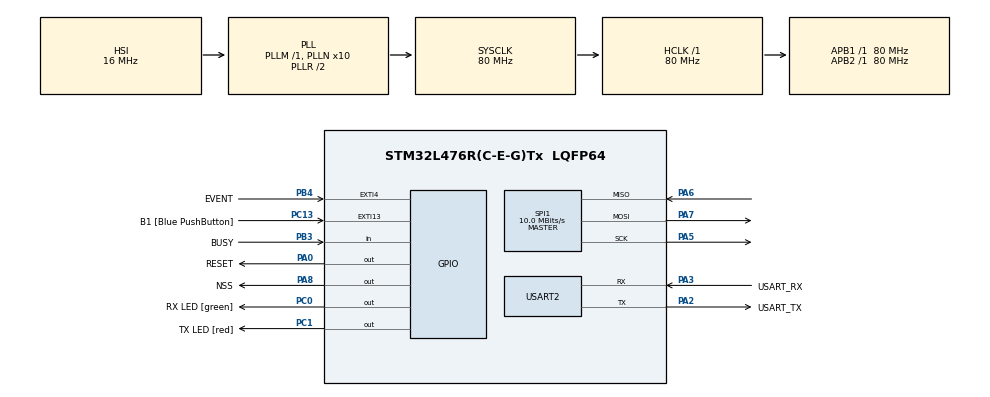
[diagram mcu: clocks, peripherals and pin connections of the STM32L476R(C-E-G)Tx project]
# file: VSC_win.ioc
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Mcu.Family=STM32L4
Mcu.Name=STM32L476R(C-E-G)Tx
Mcu.Package=LQFP64
NVIC.PriorityGroup=NVIC_PRIORITYGROUP_4
PA0.GPIO_Label=RESET
PA0.Signal=GPIO_Output
PA13\ (JTMS-SWDIO).GPIO_Label=TMS
PA13\ (JTMS-SWDIO).Mode=Serial_Wire
PA13\ (JTMS-SWDIO).Signal=SYS_JTMS-SWDIO
PA14\ (JTCK-SWCLK).GPIO_Label=TCK
PA14\ (JTCK-SWCLK).Mode=Serial_Wire
PA14\ (JTCK-SWCLK).Signal=SYS_JTCK-SWCLK
PA2.GPIO_Label=USART_TX
PA2.GPIO_Mode=GPIO_MODE_AF_PP
PA2.GPIO_PuPd=GPIO_NOPULL
PA2.GPIO_Speed=GPIO_SPEED_FREQ_VERY_HIGH
PA2.Mode=Asynchronous
PA2.Signal=USART2_TX
PA3.GPIO_Label=USART_RX
PA3.GPIO_Mode=GPIO_MODE_AF_PP
PA3.GPIO_PuPd=GPIO_NOPULL
PA3.GPIO_Speed=GPIO_SPEED_FREQ_VERY_HIGH
PA3.Mode=Asynchronous
PA3.Signal=USART2_RX
PA5.Mode=Full_Duplex_Master
PA5.Signal=SPI1_SCK
PA6.Mode=Full_Duplex_Master
PA6.Signal=SPI1_MISO
PA7.Mode=Full_Duplex_Master
PA7.Signal=SPI1_MOSI
PA8.GPIO_Label=NSS
PA8.Signal=GPIO_Output
PB3\ (JTDO-TRACESWO).GPIO_Label=BUSY
PB3\ (JTDO-TRACESWO).Signal=GPIO_Input
PB4\ (NJTRST).GPIO_Label=EVENT
PB4\ (NJTRST).Signal=GPXTI4
PC0.GPIO_Label=RX LED [green]
PC0.Signal=GPIO_Output
PC1.GPIO_Label=TX LED [red]
PC1.Signal=GPIO_Output
PC13.GPIO_Label=B1 [Blue PushButton]
PC13.GPIO_ModeDefaultEXTI=GPIO_MODE_IT_FALLING
PC13.GPIO_PuPd=GPIO_NOPULL
PC13.Signal=GPXTI13
PC14-OSC32_IN\ (PC14).Mode=LSE-External-Oscillator
PC14-OSC32_IN\ (PC14).Signal=RCC_OSC32_IN
PC15-OSC32_OUT\ (PC15).Mode=LSE-External-Oscillator
PC15-OSC32_OUT\ (PC15).Signal=RCC_OSC32_OUT
PH0-OSC_IN\ (PH0).Signal=RCC_OSC_IN
PH1-OSC_OUT\ (PH1).Signal=RCC_OSC_OUT
ProjectManager.HeapSize=0x200
ProjectManager.StackSize=0x400
ProjectManager.TargetToolchain=Makefile
RCC.ADCFreq_Value=64000000
RCC.AHBFreq_Value=80000000
RCC.APB1Freq_Value=80000000
RCC.APB1TimFreq_Value=80000000
RCC.APB2Freq_Value=80000000
RCC.APB2TimFreq_Value=80000000
RCC.CortexFreq_Value=80000000
RCC.HCLKFreq_Value=80000000
RCC.HSE_VALUE=8000000
RCC.HSI_VALUE=16000000
RCC.MSI_VALUE=4000000
RCC.PLLN=10
RCC.PLLSourceVirtual=RCC_PLLSOURCE_HSI
RCC.PREFETCH_ENABLE=1
RCC.SYSCLKFreq_VALUE=80000000
RCC.SYSCLKSource=RCC_SYSCLKSOURCE_PLLCLK
RCC.USBFreq_Value=64000000
RCC.VCOOutputFreq_Value=160000000
SPI1.BaudRatePrescaler=SPI_BAUDRATEPRESCALER_8
SPI1.CalculateBaudRate=10.0 MBits/s
SPI1.DataSize=SPI_DATASIZE_8BIT
SPI1.Direction=SPI_DIRECTION_2LINES
SPI1.Mode=SPI_MODE_MASTER
SPI1.VirtualType=VM_MASTER
USART2.VirtualMode-Asynchronous=VM_ASYNC
VP_RTC_VS_RTC_Activate.Mode=RTC_Enabled
VP_RTC_VS_RTC_Calendar.Mode=RTC_Calendar
board=NUCLEO-L476RG

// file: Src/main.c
/* USER CODE BEGIN Header */
/**
  ******************************************************************************
  * @file           : main.c
  * @brief          : Main program body
  ******************************************************************************
  * @attention
  *
  * Copyright (c) 2024 STMicroelectronics.
  * All rights reserved.
  *
  * This software is licensed under terms that can be found in the LICENSE file
  * in the root directory of this software component.
  * If no LICENSE file comes with this software, it is provided AS-IS.
  *
  ******************************************************************************
  */
/* USER CODE END Header */
#include "main.h"

/* USER CODE BEGIN Includes */

#include "spi.h"

#include "rtc.h"

#include <stdlib.h>  // used for malloc function
#include <string.h>  // used for strlen function
#include <stdarg.h> // used for va_list, va_start, va_end functions
#include <stdio.h>  // used for vsprintf function

/* USER CODE END Includes */

RTC_HandleTypeDef hrtc;

SPI_HandleTypeDef hspi1;

UART_HandleTypeDef huart2;

void SystemClock_Config(void);
static void MX_GPIO_Init(void);
static void MX_USART2_UART_Init(void);
static void MX_RTC_Init(void);
static void MX_SPI1_Init(void);
/* USER CODE BEGIN PFP */

/*!
 * @brief Get LR1110 version
 *
 * @param [in] context Radio abstraction
 */
static void getLR1110_Bootloader_Version();

/*!
 * @brief Get LR1110 temperature
 *
 * @param [in] context Radio abstraction
 */
static void getLR1110_Temperature( const void* context);

/*!
 * @brief Get LR1110 GNSS version
 *
 * @param [in] context Radio abstraction
 */
static void getLR1110_GNSS_Version( const void* context);

/*!
 * @brief Get LR1110 Wi-Fi version
 *
 * @param [in] context Radio abstraction
 */
static void getLR1110_WiFi_Version( const void* context);

/*!
 * @brief Get LR1110 Chip EUI
 *
 * @param [in] context Radio abstraction
 */
static void getLR1110_Chip_EUI( const void* context);

/*!
 * @brief Reset LR1110
 */
static void resetLR1110();

/*!
 * @brief Setup TCXO
 *
 * @param [in] context Radio abstraction
 */
static void setupTCXO( const void* context );

/*!
 * @brief Turn on LED
 *
 * @param [in] LED_GPIO_Port
 * @param [in] LED_Pin
 */
void turnOnLED(GPIO_TypeDef* LED_GPIO_Port, uint16_t LED_Pin);

/*!
 * @brief Turn off LED
 *
 * @param [in] LED_GPIO_Port
 * @param [in] LED_Pin
 */
void turnOffLED(GPIO_TypeDef* LED_GPIO_Port, uint16_t LED_Pin);

/*!
 * @brief Toggle LED
 *
 * @param [in] LED_GPIO_Port
 * @param [in] LED_Pin
 */
void toggleLED(GPIO_TypeDef* LED_GPIO_Port, uint16_t LED_Pin);

/*!
 * @brief Blink LED
 *
 * @param [in] LED_GPIO_Port
 * @param [in] LED_Pin
 * @param [in] period
 * @param [in] count
 * @param [in] start
 */
void blinkLED(GPIO_TypeDef* LED_GPIO_Port, uint16_t LED_Pin, uint32_t period, uint8_t count, bool start);

/* USER CODE END PFP */

int main(void)
{

  /* MCU Configuration--------------------------------------------------------*/

  /* Reset of all peripherals, Initializes the Flash interface and the Systick. */
  HAL_Init();

  /* USER CODE BEGIN Init */

  int a = 0;

  void* lr1110_context = (void*) malloc(sizeof(radio_t));
  ((radio_t*)lr1110_context)->spi             = SPI1;
  ((radio_t*)lr1110_context)->nss.port        = GPIOA;
  ((radio_t*)lr1110_context)->nss.pin         = NSS_Pin;
  ((radio_t*)lr1110_context)->reset.port      = GPIOA;
  ((radio_t*)lr1110_context)->reset.pin       = RESET_Pin;
  // ((radio_t*)lr1110_context)->event.irq1.port = GPIOB;
  // ((radio_t*)lr1110_context)->event.irq1.pin = EVENT_Pin;
  //((radio_t*)lr1110_context)->event.pin       = EVENT_Pin;
  //((radio_t*)lr1110_context)->event.callback  = radio_event_callback;
  ((radio_t*)lr1110_context)->event.context   = ( ( radio_t* ) lr1110_context );
  ((radio_t*)lr1110_context)->busy.port       = GPIOB;
  ((radio_t*)lr1110_context)->busy.pin        = BUSY_Pin;

  /* USER CODE END Init */

  /* Configure the system clock */
  SystemClock_Config();

  /* Initialize all configured peripherals */
  MX_GPIO_Init();
  MX_USART2_UART_Init();
  MX_RTC_Init();
  MX_SPI1_Init();
  /* USER CODE BEGIN 2 */

  HAL_DBG_TRACE_MSG("-----------------------------\r\n\r\n");
  resetLR1110();

  blinkLED(GPIOC, RX_LED_Pin|TX_LED_Pin, 100, 5, true);

  setupTCXO(lr1110_context);

  getLR1110_Bootloader_Version(lr1110_context);   // First call to this function is always returning 0.0 no matter if calling for bootloader og wifi version
  getLR1110_Bootloader_Version(lr1110_context);
  getLR1110_WiFi_Version(lr1110_context);
  getLR1110_Chip_EUI(lr1110_context);

  /* USER CODE END 2 */

  /* Infinite loop */
  /* USER CODE BEGIN WHILE */
  while (1) {

    //turnOnLED(GPIOC, RX_LED_Pin);
    //turnOffLED(GPIOC, RX_LED_Pin);
    //toggleLED(GPIOC, RX_LED_Pin|TX_LED_Pin);

    HAL_DBG_TRACE_PRINTF("2a = %d\r\n", a++);

    getLR1110_Temperature(lr1110_context);

    /* USER CODE END WHILE */

    /* USER CODE BEGIN 3 */
    HAL_Delay(1000);
  }
  /* USER CODE END 3 */
}

void SystemClock_Config(void)
{
  RCC_OscInitTypeDef RCC_OscInitStruct = {0};
  RCC_ClkInitTypeDef RCC_ClkInitStruct = {0};

  /** Configure the main internal regulator output voltage
  */
  if (HAL_PWREx_ControlVoltageScaling(PWR_REGULATOR_VOLTAGE_SCALE1) != HAL_OK)
  {
    Error_Handler();
  }

  /** Initializes the RCC Oscillators according to the specified parameters
  * in the RCC_OscInitTypeDef structure.
  */
  RCC_OscInitStruct.OscillatorType = RCC_OSCILLATORTYPE_HSI|RCC_OSCILLATORTYPE_LSI;
  RCC_OscInitStruct.HSIState = RCC_HSI_ON;
  RCC_OscInitStruct.HSICalibrationValue = RCC_HSICALIBRATION_DEFAULT;
  RCC_OscInitStruct.LSIState = RCC_LSI_ON;
  RCC_OscInitStruct.PLL.PLLState = RCC_PLL_ON;
  RCC_OscInitStruct.PLL.PLLSource = RCC_PLLSOURCE_HSI;
  RCC_OscInitStruct.PLL.PLLM = 1;
  RCC_OscInitStruct.PLL.PLLN = 10;
  RCC_OscInitStruct.PLL.PLLP = RCC_PLLP_DIV7;
  RCC_OscInitStruct.PLL.PLLQ = RCC_PLLQ_DIV2;
  RCC_OscInitStruct.PLL.PLLR = RCC_PLLR_DIV2;
  if (HAL_RCC_OscConfig(&RCC_OscInitStruct) != HAL_OK)
  {
    Error_Handler();
  }

  /** Initializes the CPU, AHB and APB buses clocks
  */
  RCC_ClkInitStruct.ClockType = RCC_CLOCKTYPE_HCLK|RCC_CLOCKTYPE_SYSCLK
                              |RCC_CLOCKTYPE_PCLK1|RCC_CLOCKTYPE_PCLK2;
  RCC_ClkInitStruct.SYSCLKSource = RCC_SYSCLKSOURCE_PLLCLK;
  RCC_ClkInitStruct.AHBCLKDivider = RCC_SYSCLK_DIV1;
  RCC_ClkInitStruct.APB1CLKDivider = RCC_HCLK_DIV1;
  RCC_ClkInitStruct.APB2CLKDivider = RCC_HCLK_DIV1;

  if (HAL_RCC_ClockConfig(&RCC_ClkInitStruct, FLASH_LATENCY_4) != HAL_OK)
  {
    Error_Handler();
  }
}

static void MX_RTC_Init(void)
{

  RTC_TimeTypeDef sTime = {0};
  RTC_DateTypeDef sDate = {0};

  /** Initialize RTC Only
  */
  hrtc.Instance = RTC;
  hrtc.Init.HourFormat = RTC_HOURFORMAT_24;
  hrtc.Init.AsynchPrediv = 127;
  hrtc.Init.SynchPrediv = 255;
  hrtc.Init.OutPut = RTC_OUTPUT_DISABLE;
  hrtc.Init.OutPutRemap = RTC_OUTPUT_REMAP_NONE;
  hrtc.Init.OutPutPolarity = RTC_OUTPUT_POLARITY_HIGH;
  hrtc.Init.OutPutType = RTC_OUTPUT_TYPE_OPENDRAIN;
  if (HAL_RTC_Init(&hrtc) != HAL_OK)
  {
    Error_Handler();
  }

  /** Initialize RTC and set the Time and Date
  */
  sTime.Hours = 0x0;
  sTime.Minutes = 0x0;
  sTime.Seconds = 0x0;
  sTime.DayLightSaving = RTC_DAYLIGHTSAVING_NONE;
  sTime.StoreOperation = RTC_STOREOPERATION_RESET;
  if (HAL_RTC_SetTime(&hrtc, &sTime, RTC_FORMAT_BCD) != HAL_OK)
  {
    Error_Handler();
  }
  sDate.WeekDay = RTC_WEEKDAY_MONDAY;
  sDate.Month = RTC_MONTH_JANUARY;
  sDate.Date = 0x1;
  sDate.Year = 0x0;

  if (HAL_RTC_SetDate(&hrtc, &sDate, RTC_FORMAT_BCD) != HAL_OK)
  {
    Error_Handler();
  }

}

static void MX_SPI1_Init(void)
{

  /* SPI1 parameter configuration*/
  hspi1.Instance = SPI1;
  hspi1.Init.Mode = SPI_MODE_MASTER;
  hspi1.Init.Direction = SPI_DIRECTION_2LINES;
  hspi1.Init.DataSize = SPI_DATASIZE_8BIT;
  hspi1.Init.CLKPolarity = SPI_POLARITY_LOW;
  hspi1.Init.CLKPhase = SPI_PHASE_1EDGE;
  hspi1.Init.NSS = SPI_NSS_SOFT;
  hspi1.Init.BaudRatePrescaler = SPI_BAUDRATEPRESCALER_8;
  hspi1.Init.FirstBit = SPI_FIRSTBIT_MSB;
  hspi1.Init.TIMode = SPI_TIMODE_DISABLE;
  hspi1.Init.CRCCalculation = SPI_CRCCALCULATION_DISABLE;
  hspi1.Init.CRCPolynomial = 7;
  hspi1.Init.CRCLength = SPI_CRC_LENGTH_DATASIZE;
  hspi1.Init.NSSPMode = SPI_NSS_PULSE_ENABLE;
  if (HAL_SPI_Init(&hspi1) != HAL_OK)
  {
    Error_Handler();
  }
  /* USER CODE BEGIN SPI1_Init 2 */

  __HAL_SPI_ENABLE( &hspi1 );

  /* USER CODE END SPI1_Init 2 */

}

static void MX_USART2_UART_Init(void)
{

  huart2.Instance = USART2;
  huart2.Init.BaudRate = 115200;
  huart2.Init.WordLength = UART_WORDLENGTH_8B;
  huart2.Init.StopBits = UART_STOPBITS_1;
  huart2.Init.Parity = UART_PARITY_NONE;
  huart2.Init.Mode = UART_MODE_TX_RX;
  huart2.Init.HwFlowCtl = UART_HWCONTROL_NONE;
  huart2.Init.OverSampling = UART_OVERSAMPLING_16;
  huart2.Init.OneBitSampling = UART_ONE_BIT_SAMPLE_DISABLE;
  huart2.AdvancedInit.AdvFeatureInit = UART_ADVFEATURE_NO_INIT;
  if (HAL_UART_Init(&huart2) != HAL_OK)
  {
    Error_Handler();
  }

}

static void MX_GPIO_Init(void)
{
  GPIO_InitTypeDef GPIO_InitStruct = {0};

  /* GPIO Ports Clock Enable */
  __HAL_RCC_GPIOC_CLK_ENABLE();
  __HAL_RCC_GPIOH_CLK_ENABLE();
  __HAL_RCC_GPIOA_CLK_ENABLE();
  __HAL_RCC_GPIOB_CLK_ENABLE();

  /*Configure GPIO pin Output Level */
  HAL_GPIO_WritePin(GPIOC, RX_LED_Pin|TX_LED_Pin, GPIO_PIN_RESET);

  /*Configure GPIO pin Output Level */
  HAL_GPIO_WritePin(GPIOA, RESET_Pin|NSS_Pin, GPIO_PIN_RESET);

  /*Configure GPIO pin : B1_Pin */
  GPIO_InitStruct.Pin = B1_Pin;
  GPIO_InitStruct.Mode = GPIO_MODE_IT_FALLING;
  GPIO_InitStruct.Pull = GPIO_NOPULL;
  HAL_GPIO_Init(B1_GPIO_Port, &GPIO_InitStruct);

  /*Configure GPIO pins : RX_LED_Pin TX_LED_Pin */
  GPIO_InitStruct.Pin = RX_LED_Pin|TX_LED_Pin;
  GPIO_InitStruct.Mode = GPIO_MODE_OUTPUT_PP;
  GPIO_InitStruct.Pull = GPIO_NOPULL;
  GPIO_InitStruct.Speed = GPIO_SPEED_FREQ_LOW;
  HAL_GPIO_Init(GPIOC, &GPIO_InitStruct);

  /*Configure GPIO pins : RESET_Pin NSS_Pin */
  GPIO_InitStruct.Pin = RESET_Pin|NSS_Pin;
  GPIO_InitStruct.Mode = GPIO_MODE_OUTPUT_PP;
  GPIO_InitStruct.Pull = GPIO_NOPULL;
  GPIO_InitStruct.Speed = GPIO_SPEED_FREQ_LOW;
  HAL_GPIO_Init(GPIOA, &GPIO_InitStruct);

  /*Configure GPIO pin : BUSY_Pin */
  GPIO_InitStruct.Pin = BUSY_Pin;
  GPIO_InitStruct.Mode = GPIO_MODE_INPUT;
  GPIO_InitStruct.Pull = GPIO_NOPULL;
  HAL_GPIO_Init(BUSY_GPIO_Port, &GPIO_InitStruct);

  /*Configure GPIO pin : EVENT_Pin */
  GPIO_InitStruct.Pin = EVENT_Pin;
  GPIO_InitStruct.Mode = GPIO_MODE_IT_RISING;
  GPIO_InitStruct.Pull = GPIO_NOPULL;
  HAL_GPIO_Init(EVENT_GPIO_Port, &GPIO_InitStruct);

}

/* USER CODE BEGIN 4 */

/*
 * -----------------------------------------------------------------------------
 * --- PRIVATE FUNCTIONS DEFINITION --------------------------------------------
 */

void turnOnLED(GPIO_TypeDef* LED_GPIO_Port, uint16_t LED_Pin) {
  HAL_GPIO_WritePin(LED_GPIO_Port, LED_Pin, GPIO_PIN_SET);
}

void turnOffLED(GPIO_TypeDef* LED_GPIO_Port, uint16_t LED_Pin) {
  HAL_GPIO_WritePin(LED_GPIO_Port, LED_Pin, GPIO_PIN_RESET);
}

void toggleLED(GPIO_TypeDef* LED_GPIO_Port, uint16_t LED_Pin) {
  HAL_GPIO_TogglePin(LED_GPIO_Port, LED_Pin);
}

void blinkLED(GPIO_TypeDef* LED_GPIO_Port, uint16_t LED_Pin, uint32_t period, uint8_t count, bool start) {
  if (start) {
    for (uint8_t i = 0; i < count; i++) {
      turnOnLED(LED_GPIO_Port, LED_Pin);
      HAL_Delay(period);
      turnOffLED(LED_GPIO_Port, LED_Pin);
      HAL_Delay(period);
    }
  }
}

void hal_mcu_trace_print( const char* fmt, ... ) {
  va_list argp;
  va_start( argp, fmt );

  char string[255];
  if( 0 < vsprintf( string, fmt, argp ) ) {
      HAL_UART_Transmit(&huart2, (uint8_t*) string, (uint16_t) strlen((const char*) string), 0xffffff);
  }

  va_end( argp );
}

void getLR1110_Bootloader_Version( const void* context ) {
  HAL_DBG_TRACE_INFO("Getting LR1110 version... ");

  uint8_t cbuffer[LR1110_VERSION_CMD_LENGTH];
  uint8_t rbuffer[LR1110_VERSION_LENGTH] = { 0 };

  cbuffer[0] = ( uint8_t )( LR1110_GET_VERSION_OC >> 8 );
  cbuffer[1] = ( uint8_t )( LR1110_GET_VERSION_OC >> 0 );

  if (lr1110_spi_read(context, cbuffer, LR1110_VERSION_CMD_LENGTH, rbuffer, LR1110_VERSION_LENGTH ) == LR1110_SPI_STATUS_OK) {
    HAL_DBG_TRACE_MSG_COLOR("DONE\r\n", HAL_DBG_TRACE_COLOR_GREEN);

    HAL_DBG_TRACE_INFO("LR1110 bootloader hardware version: %d\r\n", rbuffer[0]);
    switch (rbuffer[1]) {
        case 1:
            HAL_DBG_TRACE_INFO("LR1110 bootloader type: LR1110\r\n");
            break;
        case 2:
            HAL_DBG_TRACE_INFO("LR1110 bootloader type: LR1120\r\n");
            break;
        case 3:
            HAL_DBG_TRACE_INFO("LR1110 bootloader type: LR1121\r\n");
            break;
        default:
            break;
    }
    HAL_DBG_TRACE_INFO("LR1110 bootloader firmware version: %d.%d\r\n", rbuffer[2], rbuffer[3]);
  } else {
    HAL_DBG_TRACE_ERROR("\r\nFailed to get LR1110 bootloader version\r\n");
  }
}

void getLR1110_Temperature( const void* context ) {
  HAL_DBG_TRACE_INFO("Getting LR1110 temperature... ");

  uint8_t cbuffer[LR1110_TEMPERATURE_CMD_LENGTH];
  uint8_t rbuffer[LR1110_TEMPERATURE_LENGTH] = { 0 };

  cbuffer[0] = ( uint8_t )( LR1110_GET_TEMPERATURE >> 8 );
  cbuffer[1] = ( uint8_t )( LR1110_GET_TEMPERATURE >> 0 );

  if (lr1110_spi_read( context, cbuffer, LR1110_TEMPERATURE_CMD_LENGTH, rbuffer, LR1110_TEMPERATURE_LENGTH ) == LR1110_SPI_STATUS_OK) {
    HAL_DBG_TRACE_MSG_COLOR("DONE\r\n", HAL_DBG_TRACE_COLOR_GREEN);

    uint16_t temp_10_0 = ((rbuffer[0] << 8) | rbuffer[1]) & 0x7FF;
    float temperature = 25 + (1000/(-1.7)) * ((temp_10_0/2047.0) * 1.35 - 0.7295);

    if ((int)temperature > 50) {
      HAL_DBG_TRACE_ERROR("LR1110 temperature is too high\r\n");
      HAL_DBG_TRACE_ERROR("TCXO mode is maybe not set up correctly\r\n");
    }

    HAL_DBG_TRACE_INFO("LR1110 temperature: %d.%d °C\r\n", (int)temperature, (int)((temperature - (int)temperature) * 100));
  } else {
    HAL_DBG_TRACE_ERROR("\r\nFailed to get LR1110 temperature\r\n");
  }
}

void getLR1110_GNSS_Version( const void* context ) {
  HAL_DBG_TRACE_INFO("Getting GNSS version... ");

  uint8_t cbuffer[LR1110_GNSS_VERSION_CMD_LENGTH];
  uint8_t rbuffer[LR1110_GNSS_VERSION_LENGTH] = { 0 };

  cbuffer[0] = LR1110_GROUP_ID_GNSS;
  cbuffer[1] = LR1110_GNSS_READ_FW_VERSION_CMD;

  if (lr1110_spi_read( context, cbuffer, LR1110_GNSS_VERSION_CMD_LENGTH, rbuffer, LR1110_GNSS_VERSION_LENGTH ) == LR1110_SPI_STATUS_OK) {
    HAL_DBG_TRACE_MSG_COLOR("DONE\r\n", HAL_DBG_TRACE_COLOR_GREEN);

    HAL_DBG_TRACE_INFO("GNSS firmware version = %d\n\r", rbuffer[0]);
    HAL_DBG_TRACE_INFO("GNSS almanac version = %d\n\r", rbuffer[1]);
  } else {
    HAL_DBG_TRACE_ERROR("Failed to get GNSS version\r\n");
  }
}

void getLR1110_WiFi_Version( const void* context ) {
  HAL_DBG_TRACE_INFO("Getting Wi-Fi version... ");

  uint8_t cbuffer[LR1110_WIFI_VERSION_CMD_LENGTH];
  uint8_t rbuffer[LR1110_WIFI_VERSION_LENGTH] = { 0 };

  cbuffer[0] = LR1110_GROUP_ID_WIFI;
  cbuffer[1] = LR1110_WIFI_GET_FIRMWARE_WIFI_VERSION_CMD;

  if (lr1110_spi_read( context, cbuffer, LR1110_WIFI_VERSION_CMD_LENGTH, rbuffer, LR1110_WIFI_VERSION_LENGTH ) == LR1110_SPI_STATUS_OK) {
    HAL_DBG_TRACE_MSG_COLOR("DONE\r\n", HAL_DBG_TRACE_COLOR_GREEN);

    HAL_DBG_TRACE_INFO("Wi-Fi firmware version: %d.%d\r\n", rbuffer[0], rbuffer[1]);
  } else {
    HAL_DBG_TRACE_ERROR("Failed to get Wi-Fi version\r\n");
  }
}

void getLR1110_Chip_EUI( const void* context ) {
  HAL_DBG_TRACE_INFO("Getting LR1110 Chip EUI... ");

  uint8_t cbuffer[LR1110_CHIP_EUI_CMD_LENGTH];
  uint8_t rbuffer[LR1110_CHIP_EUI_LENGTH] = { 0 };

  cbuffer[0] = ( uint8_t )( LR1110_GET_CHIP_EUI_OC >> 8 );
  cbuffer[1] = ( uint8_t )( LR1110_GET_CHIP_EUI_OC >> 0 );

  if (lr1110_spi_read( context, cbuffer, LR1110_CHIP_EUI_CMD_LENGTH, rbuffer, LR1110_CHIP_EUI_LENGTH ) == LR1110_SPI_STATUS_OK) {
    HAL_DBG_TRACE_MSG_COLOR("DONE\r\n", HAL_DBG_TRACE_COLOR_GREEN);

    HAL_DBG_TRACE_INFO("Chip EUI: %02X:%02X:%02X:%02X:%02X:%02X:%02X:%02X\r\n", rbuffer[0], rbuffer[1], rbuffer[2], rbuffer[3], rbuffer[4], rbuffer[5], rbuffer[6], rbuffer[7]);
  } else {
    HAL_DBG_TRACE_ERROR("Failed to get LR1110 Chip EUI\r\n");
  }
}

void resetLR1110() {
  HAL_DBG_TRACE_INFO("Resetting LR1110... ");
  HAL_GPIO_WritePin(RESET_GPIO_Port, RESET_Pin, GPIO_PIN_RESET);
  HAL_Delay(100);
  HAL_GPIO_WritePin(RESET_GPIO_Port, RESET_Pin, GPIO_PIN_SET);
  HAL_DBG_TRACE_MSG_COLOR("DONE\r\n", HAL_DBG_TRACE_COLOR_GREEN);
}

void setupTCXO( const void* context ) {
  HAL_DBG_TRACE_INFO( "Setting up TCXO mode... " );

  uint8_t cbuffer[LR1110_SET_TCXO_MODE_CMD_LENGTH];

  cbuffer[0] = LR1110_GROUP_ID_SYSTEM;
  cbuffer[1] = LR1110_SET_TCXO_MODE_CMD;

  cbuffer[2] = ( uint8_t ) LR1110_TCXO_CTRL_1_8V;

  const uint32_t timeout = ( 5 * 1000 ) / 30.52;  // BOARD_TCXO_WAKEUP_TIME = 5

  cbuffer[3] = ( uint8_t )( timeout >> 16 );
  cbuffer[4] = ( uint8_t )( timeout >> 8 );
  cbuffer[5] = ( uint8_t )( timeout >> 0 );

  if (lr1110_spi_write( ((radio_t*)context)->spi, cbuffer, LR1110_SET_TCXO_MODE_CMD_LENGTH, 1000 ) == LR1110_SPI_STATUS_OK) {
    HAL_DBG_TRACE_MSG_COLOR("DONE\r\n", HAL_DBG_TRACE_COLOR_GREEN);
  } else {
    HAL_DBG_TRACE_ERROR("Failed to set TCXO mode\r\n");
  }
}

/* USER CODE END 4 */

void Error_Handler(void)
{
  /* USER CODE BEGIN Error_Handler_Debug */

  HAL_DBG_TRACE_ERROR( "%s\n", __func__ );
  HAL_DBG_TRACE_ERROR( "PANIC" );

  /* User can add his own implementation to report the HAL error return state */
  __disable_irq();

  /* Restart system */
  NVIC_SystemReset( );

  while (1) {  }
  /* USER CODE END Error_Handler_Debug */
}
